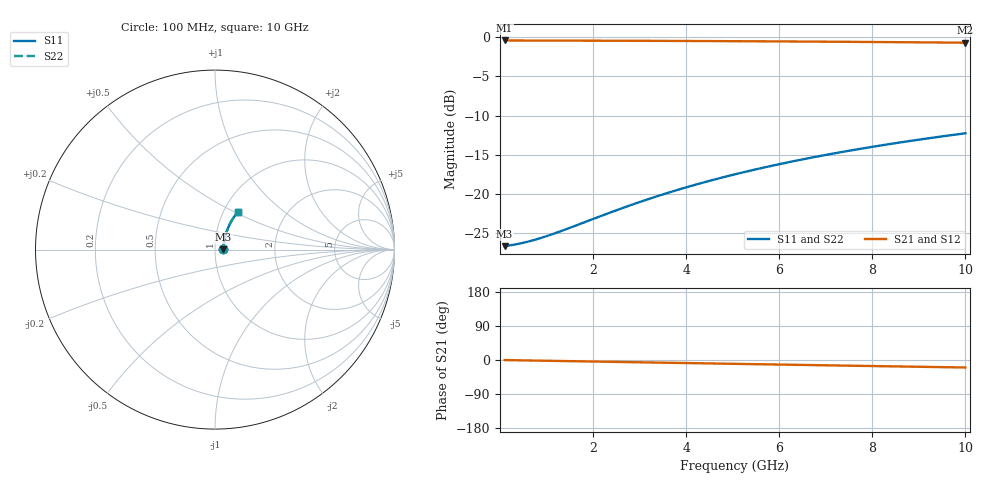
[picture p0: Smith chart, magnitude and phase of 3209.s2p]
# Hz S RI R 50.00
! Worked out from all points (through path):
!   100 points, 100 MHz to 10 GHz, reference 50 ohm
!   highest |S21| = -0.41 dB at 100 MHz (marker M1); lowest = -0.7 dB at 10 GHz (marker M2)
!   group delay of S21, straight-line fit = 5.51 ps
!   lowest |S11| = -26.6 dB at 100 MHz (marker M3), VSWR 1.10, Z = 54.9 + j0.257 ohm
!   |S11| at or under -10 dB: start of sweep to end of sweep
!   |S22| runs from -26.6 to -12.2 dB; largest |S21 - S12| = 0
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1e8  0.0466 0.00233  0.9534 -0.00336  0.9534 -0.00336  0.0466 0.00233
3e8  0.0471 0.00699  0.9529 -0.0101  0.9529 -0.0101  0.0471 0.00699
5e8  0.0476 0.0116  0.9524 -0.0168  0.9524 -0.0168  0.0476 0.0116
8e8  0.0482 0.0186  0.9517 -0.0269  0.9517 -0.0269  0.0482 0.0186
1e9  0.0487 0.0232  0.9512 -0.0335  0.9512 -0.0335  0.0487 0.0232
1.2e9  0.0492 0.0279  0.9507 -0.0402  0.9507 -0.0402  0.0492 0.0279
1.8e9  0.0511 0.0417  0.9487 -0.0602  0.9487 -0.0602  0.0511 0.0417
2.3e9  0.053 0.0531  0.9467 -0.0768  0.9467 -0.0768  0.053 0.0531
2.7e9  0.0548 0.0622  0.9448 -0.09  0.9448 -0.09  0.0548 0.0622
3.1e9  0.0568 0.0712  0.9426 -0.1032  0.9426 -0.1032  0.0568 0.0712
3.4e9  0.0585 0.0779  0.9408 -0.113  0.9408 -0.113  0.0585 0.0779
3.8e9  0.061 0.0868  0.9382 -0.126  0.9382 -0.126  0.061 0.0868
4.2e9  0.0636 0.0956  0.9354 -0.1389  0.9354 -0.1389  0.0636 0.0956
4.6e9  0.0666 0.1043  0.9323 -0.1518  0.9323 -0.1518  0.0666 0.1043
5.1e9  0.0705 0.115  0.928 -0.1677  0.928 -0.1677  0.0705 0.115
5.5e9  0.0739 0.1235  0.9244 -0.1803  0.9244 -0.1803  0.0739 0.1235
5.9e9  0.0776 0.1318  0.9205 -0.1927  0.9205 -0.1927  0.0776 0.1318
6.7e9  0.0855 0.1481  0.912 -0.2173  0.912 -0.2173  0.0855 0.1481
7.5e9  0.0943 0.1638  0.9026 -0.2414  0.9026 -0.2414  0.0943 0.1638
8.4e9  0.1051 0.1808  0.891 -0.2677  0.891 -0.2677  0.1051 0.1808
9.2e9  0.1154 0.1952  0.8798 -0.2904  0.8798 -0.2904  0.1154 0.1952
1e10  0.1265 0.2089  0.8679 -0.3125  0.8679 -0.3125  0.1265 0.2089
